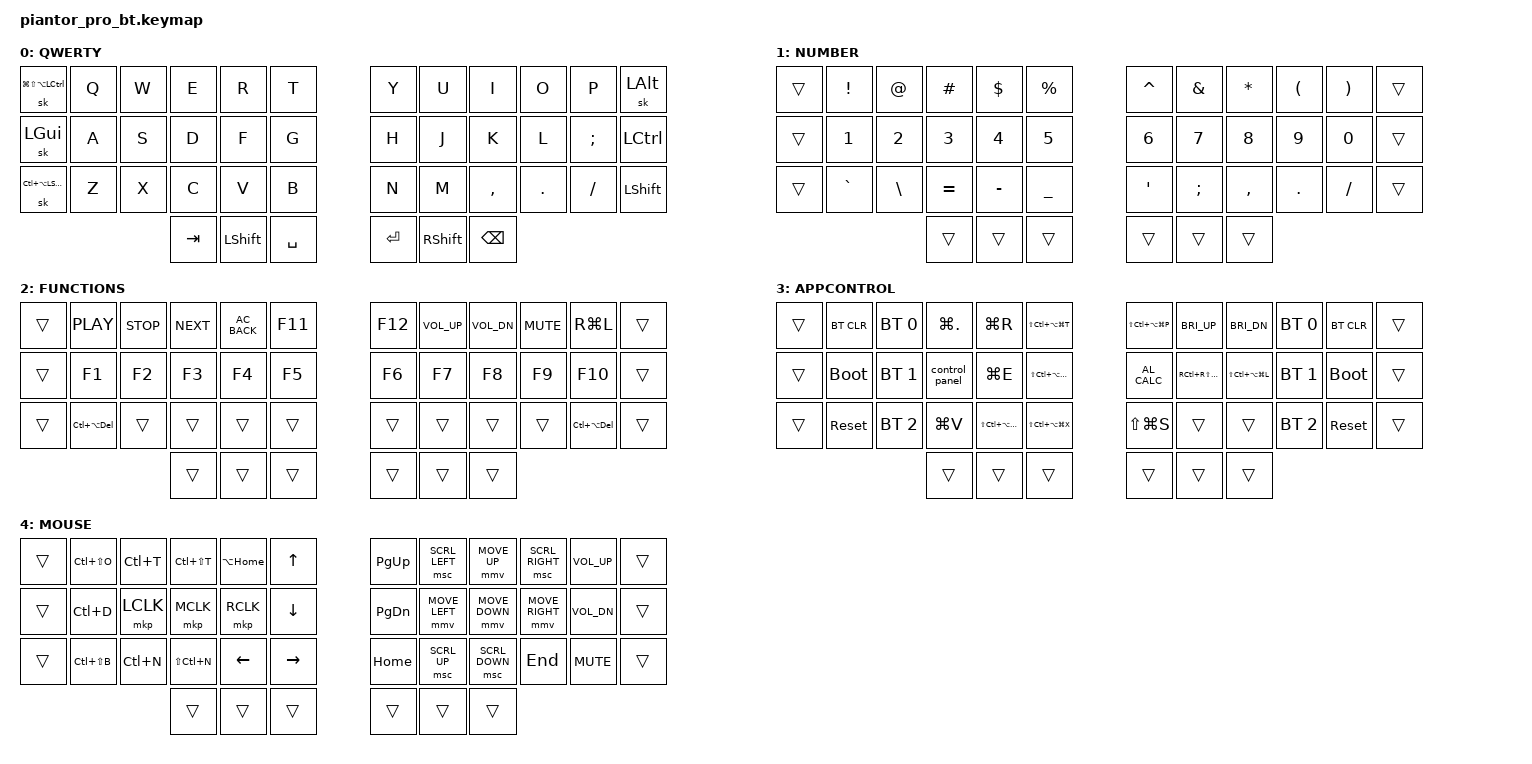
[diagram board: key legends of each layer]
/*
 * Copyright (c) 2020 The ZMK Contributors
 *
 * SPDX-License-Identifier: MIT
 */

#include <behaviors.dtsi>
#include <dt-bindings/zmk/keys.h>
#include <dt-bindings/zmk/bt.h>
#include <dt-bindings/zmk/rgb.h>
#include <dt-bindings/zmk/pointing.h>

&caps_word {
    continue-list = <BACKSPACE DELETE>;
};

/ {
    chosen {
        zmk,physical-layout = &default_layout;
    };
};

/ {
    macros {
        control_panel: control_panel { 
            compatible = "zmk,behavior-macro";
            #binding-cells = <0>;
            bindings
                = <&macro_press &kp RGUI>
                , <&macro_tap &kp R>
		, <&macro_wait_time 80>
                , <&macro_release &kp RGUI>
                , <&macro_tap &kp C &kp O &kp N &kp T &kp R &kp O &kp L &kp ENTER>
                ;
        };

        launch_chrome: launch_chrome { 
            compatible = "zmk,behavior-macro";
            #binding-cells = <0>;
            bindings
                = <&macro_press &kp RGUI>
                , <&macro_tap &kp R>
		, <&macro_wait_time 80>
                , <&macro_release &kp RGUI>
                , <&macro_tap &kp C &kp H &kp R &kp O &kp M &kp E &kp ENTER>
                ;
        };

        mycomputer: mycomputer { 
            compatible = "zmk,behavior-macro";
            #binding-cells = <0>;
            bindings
                = <&macro_press &kp RGUI>
                , <&macro_tap &kp R>
		, <&macro_wait_time 80>
                , <&macro_release &kp RGUI>
                , <&macro_tap &kp S &kp H &kp E &kp L &kp L &kp COLON &kp M &kp Y &kp C &kp O &kp M &kp P &kp U &kp T &kp E &kp R &kp F &kp O &kp L &kp D &kp E &kp R &kp ENTER>
                ;
        };
	
	launch_vscode: launch_vscode { 
            compatible = "zmk,behavior-macro";
            #binding-cells = <0>;
            bindings
                = <&macro_press &kp RGUI>
                , <&macro_tap &kp R>
		, <&macro_wait_time 80>
                , <&macro_release &kp RGUI>
                , <&macro_tap &kp C &kp O &kp D &kp E &kp ENTER>
                ;
        };

    	launch_edge: launch_edge { 
            compatible = "zmk,behavior-macro";
            #binding-cells = <0>;
            bindings
                = <&macro_press &kp RGUI>
                , <&macro_tap &kp R>
		, <&macro_wait_time 80>
                , <&macro_release &kp RGUI>
                , <&macro_tap &kp M &kp I &kp C &kp R &kp O &kp S &kp O &kp F &kp T &kp MINUS &kp E &kp D &kp G &kp E &kp COLON &kp ENTER>
                ;
        };
    	
	launch_notepadpp: launch_notepadpp { 
            compatible = "zmk,behavior-macro";
            #binding-cells = <0>;
            bindings
                = <&macro_press &kp RGUI>
                , <&macro_tap &kp R>
		, <&macro_wait_time 80>
                , <&macro_release &kp RGUI>
                , <&macro_tap &kp N &kp O &kp T &kp E &kp P &kp A &kp D &kp PLUS &kp PLUS &kp ENTER>
                ;
        };
    	
        // Layer with mod when held
	
	lm: lm {
	    compatible = "zmk,behavior-macro-two-param";
	    wait-ms = <0>;
	    tap-ms = <0>;
	    #binding-cells = <2>;
	    bindings
	        = <&macro_param_1to1>
	        , <&macro_press &mo MACRO_PLACEHOLDER>
	        , <&macro_param_2to1>
	        , <&macro_press &kp MACRO_PLACEHOLDER>
	        , <&macro_pause_for_release>
	        , <&macro_param_2to1>
	        , <&macro_release &kp MACRO_PLACEHOLDER>
	        , <&macro_param_1to1>
	        , <&macro_release &mo MACRO_PLACEHOLDER>
	        ;
	};
    };
};

/ {
    combos {
        compatible = "zmk,combos";

        // Characters
		
        combo_doublequ {
            timeout-ms = <50>;
            key-positions = <dk fk>;
            bindings = <&kp DQT>;
        };
	combo_singlequ {
            timeout-ms = <50>;
            key-positions = <jk kk>;
            bindings = <&kp SQT>;
        };
	combo_lpar {
            timeout-ms = <50>;
            key-positions = <ck vk>;
            bindings = <&kp LPAR>;
        };
	combo_rpar {
            timeout-ms = <50>;
            key-positions = <mk commak>;
            bindings = <&kp RPAR>;
        };
	combo_lbrace {
            timeout-ms = <50>;
            key-positions = <xk ck vk>;
            bindings = <&kp LBKT>;
        };
	combo_rbrace {
            timeout-ms = <50>;
            key-positions = <mk commak periodk>;
            bindings = <&kp RBKT>;
        };
	combo_lcurly {
            timeout-ms = <50>;
            key-positions = <xk vk>;
            bindings = <&kp LBRC>;
        };
	combo_rcurly {
            timeout-ms = <50>;
            key-positions = <mk periodk>;
            bindings = <&kp RBRC>;
        };

        // macro combos

         combo_chrome {
            timeout-ms = <50>;
	    require-prior-idle-ms = <300>;
            key-positions = <ck hk>;
            bindings = <&launch_chrome>;
        };

        combo_mycomputer {
            timeout-ms = <50>;
	    require-prior-idle-ms = <300>;
            key-positions = <ck yk>;
            bindings = <&mycomputer>;
        };

        combo_cpanel {
            timeout-ms = <50>;
	    require-prior-idle-ms = <300>;
            key-positions = <ck nk>;
            bindings = <&control_panel>;
        };

        combo_vscode {
            timeout-ms = <50>;
	    require-prior-idle-ms = <300>;
            key-positions = <ck uk>;
            bindings = <&launch_vscode>;
        };

        combo_edge {
            timeout-ms = <50>;
	    require-prior-idle-ms = <300>;
            key-positions = <ck jk>;
            bindings = <&launch_edge>;
        };
        
        combo_notepadpp {
            timeout-ms = <50>;
	    require-prior-idle-ms = <300>;
            key-positions = <ck mk>;
            bindings = <&launch_notepadpp>;
        };

        // Layer combos
        
        combo_alpha {
            timeout-ms = <50>;
            key-positions = <jk kk lk>;
            bindings = <&to LAYER_ALPHA>;
        };
        combo_numbsym {
            timeout-ms = <50>;
            key-positions = <hk jk kk>;
            bindings = <&tog LAYER_NUMBSYM>;
        };
        combo_numbsymosl {
            timeout-ms = <50>;
            key-positions = <hk kk>;
            bindings = <&sl LAYER_NUMBSYM>;
        };
        combo_func {
            timeout-ms = <50>;
            key-positions = <nk mk commak>;
            bindings = <&tog LAYER_FUNCTION>;
        };
        combo_funcosl {
            timeout-ms = <50>;
            key-positions = <nk commak>;
            bindings = <&sl LAYER_FUNCTION>;
        };
        combo_apps {
            timeout-ms = <50>;
            key-positions = <yk uk ik>;
            bindings = <&tog LAYER_APPCONTROL>;
        };
        combo_appsosl {
            timeout-ms = <50>;
            key-positions = <yk ik>;
            bindings = <&sl LAYER_APPCONTROL>;
        };

        combo_mouse {
            timeout-ms = <50>;
            key-positions = <wk ek rk tk>;
            bindings = <&tog LAYER_MOUSE>;
        };
        
	// activate number layer with shift when held.

	comnbo_layermod_left {
	    timeout-ms = <50>;
            key-positions = <hk jk>;
            bindings = <&lm LAYER_NUMBSYM RSHIFT>;
	};

	// Behavioral

        combo_esc {
            timeout-ms = <50>;
            key-positions = <fk gk>;
            bindings = <&kp ESC>;
        };
	
	combo_winclose {
            timeout-ms = <50>;
 	    require-prior-idle-ms = <250>;
            key-positions = <rk tk>;
            bindings = <&kp LC(F4)>;
        };
	
	combo_appclose {
            timeout-ms = <50>;
 	    require-prior-idle-ms = <250>;
            key-positions = <vk bk>;
            bindings = <&kp LA(F4)>;
        };
	combo_caplock {
            timeout-ms = <50>;
            key-positions = <zk xk ck>;
            bindings = <&kp CAPS>;
        };
	combo_capsword {
            timeout-ms = <50>;
            key-positions = <ck bk>;
            bindings = <&caps_word>;
        };
	combo_del {
            timeout-ms = <50>;
            key-positions = <dk gk>;
            bindings = <&kp DEL>;
        };
	combo_leftarr {
            timeout-ms = <100>;
            key-positions = <dk fk gk>;
            bindings = <&kp LEFT>;
        };
	combo_rightarr {
            timeout-ms = <100>;
            key-positions = <ek rk tk>;
            bindings = <&kp RIGHT>;
        };
	combo_uparr {
            timeout-ms = <100>;
            key-positions = <wk ek rk>;
            bindings = <&kp UP>;
        };
	combo_dnarr {
            timeout-ms = <100>;
            key-positions = <sk dk fk>;
            bindings = <&kp DOWN>;
        };
	combo_pgup {
            timeout-ms = <50>;
            key-positions = <fk jk>;
            bindings = <&kp PG_UP>;
        };
	combo_pgdn {
            timeout-ms = <50>;
            key-positions = <vk mk>;
            bindings = <&kp PG_DN>;
        };
	combo_home {
            timeout-ms = <50>;
            key-positions = <gk hk>;
            bindings = <&kp HOME>;
        };
	combo_end {
            timeout-ms = <50>;
            key-positions = <bk nk>;
            bindings = <&kp END>;
        };
    	combo_teamsmute {
            timeout-ms = <50>;
            key-positions = <rk uk>;
            bindings = <&kp LS(LC(M))>;
        };
    	combo_teamsvidtog {
            timeout-ms = <50>;
            key-positions = <tk yk>;
            bindings = <&kp LS(LC(O))>;
        };

	// Boot key combos

	combo_bootleft {
            timeout-ms = <50>;
            key-positions = <qk tk>;
            bindings = <&bootloader>;
        };

	combo_bootright {
            timeout-ms = <50>;
            key-positions = <yk pk>;
            bindings = <&bootloader>;
        };

	// Mouse combos

	combo_left_click {
            timeout-ms = <50>;
            key-positions = <sk fk>;
            bindings = <&mkp LCLK>;
        };
	combo_right_click {
            timeout-ms = <50>;
            key-positions = <wk rk>;
            bindings = <&mkp  RCLK>;
        };
	combo_middle_click {
            timeout-ms = <50>;
            key-positions = <ek tk>;
            bindings = <&mkp MCLK>;
        }; 
    };
};


/ {
    keymap {
        compatible = "zmk,keymap";

        alpha_layer  {
            display-name = "QWERTY";
            // --------------------------------------------------------------------------------
            // |  TAB |  Q  |  W  |  E  |  R  |  T  |  Y  |  U   |  I  |  O  |  P  | BSPC |
            // | CTRL |  A  |  S  |  D  |  F  |  G  |  H  |  J   |  K  |  L  |  ;  |  '   |
            // | SHFT |  Z  |  X  |  C  |  V  |  B  |  N  |  M   |  ,  |  .  |  /  | ESC  |
            //                    | GUI | LWR | SPC | ENT | RSE  | ALT |
            bindings = <
                &sk LG(LS(LA(LCTRL)))  &kp Q  &kp W   &kp E     &kp R       &kp T   &kp Y     &kp U    &kp I     &kp O   &kp P    &sk LALT
                &sk LGUI               &kp A  &kp S   &kp D     &kp F       &kp G   &kp H     &kp J    &kp K     &kp L   &kp SEMI &kp LCTRL
                &sk LC(LA(LSHIFT))     &kp Z  &kp X   &kp C     &kp V       &kp B   &kp N     &kp M    &kp COMMA &kp DOT &kp FSLH &kp LSHIFT
                                              &kp TAB &kp LSHFT &kp SPACE   &kp RET &kp RSHFT &kp BSPC
            >;
        };

        numbsym_layer  {
            display-name = "NUMBER";
            // -----------------------------------------------------------------------------------------
            // |  TAB |  1  |  2  |  3  |  4  |  5    |  6  |  7  |  8  |  9  |  0  | BSPC |
            // | CTRL | BT1 | BT2 | BT3 | BT4 | BT5   | LFT | DWN |  UP | RGT |     |      |
            // | SHFT | BTCR| RGB | RST | BOOT| Unlock|     |     |     |     |     |      |
            //                    | GUI |     | SPC   | ENT |     | ALT |
            bindings = <
                &trans  &kp EXCL   &kp AT     &kp HASH   &kp DLLR   &kp PRCNT     &kp CARET  &kp AMPS    &kp ASTRK  &kp LPAR   &kp RPAR  &trans
                &trans  &kp N1     &kp N2     &kp N3     &kp N4     &kp N5        &kp N6     &kp N7      &kp N8     &kp N9     &kp N0    &trans
                &trans  &kp GRAVE  &kp BSLH   &kp EQUAL  &kp MINUS  &kp UNDER     &kp SQT    &kp SEMI    &kp COMMA  &kp DOT    &kp SLASH &trans
                                              &trans     &trans     &trans        &trans     &trans      &trans
            >;
        };

        function_layer  {
            display-name = "FUNCTIONS";
            bindings = <
              &trans &kp C_PLAY      &kp C_STOP &kp C_NEXT &kp C_AC_BACK  &kp F11      &kp F12     &kp K_VOL_UP &kp C_VOL_DN  &kp C_MUTE  &kp RG(L)       &trans
              &trans &kp F1          &kp F2     &kp F3     &kp F4         &kp F5       &kp F6      &kp F7       &kp F8        &kp F9      &kp F10         &trans
              &trans &kp LC(LA(DEL)) &trans     &trans     &trans         &trans       &trans      &trans       &trans        &trans      &kp LC(LA(DEL)) &trans
                                                &trans     &trans         &trans       &trans      &trans       &trans       
            >;
        };

        appcontrol_layer  {
            display-name = "APPCONTROL";
            bindings = <
                &trans &bt BT_CLR  &bt BT_SEL 0 &kp LG(DOT)     &kp LG(R)              &kp LS(LC(LA(LG(T))))    &kp LS(LC(LA(LG(P)))) &kp C_BRI_UP    &kp C_BRI_DN          &bt BT_SEL 0 &bt BT_CLR  &trans 
                &trans &bootloader &bt BT_SEL 1 &control_panel  &kp LG(E)              &kp LS(LC(LA(LG(W))))    &kp C_AL_CALC         &kp RC(RS(ESC)) &kp LS(LC(LA(LG(L)))) &bt BT_SEL 1 &bootloader &trans 
                &trans &sys_reset  &bt BT_SEL 2 &kp LG(V)       &kp LS(LC(LA(LG(O))))  &kp LS(LC(LA(LG(X))))    &kp LS(LG(S))         &trans          &trans                &bt BT_SEL 2 &sys_reset  &trans 
                                   &trans       &trans          &trans                 &trans                   &trans                &trans       
            >;
        };

        mouse_layer  {
            display-name = "MOUSE";
            bindings = <
                &trans &kp LC(LS(O)) &kp LC(T)    &kp LC(LS(T))  &kp LA(HOME) &kp UP       &kp PG_UP    &msc SCRL_LEFT &mmv MOVE_UP    &msc SCRL_RIGHT  &kp K_VOL_UP &trans
                &trans &kp LC(D)     &mkp LCLK    &mkp MCLK      &mkp  RCLK   &kp DOWN     &kp PG_DN    &mmv MOVE_LEFT &mmv MOVE_DOWN  &mmv MOVE_RIGHT  &kp K_VOL_DN &trans
                &trans &kp LC(LS(B)) &kp LC(N)    &kp LS(LC(N))  &kp LEFT     &kp RIGHT    &kp HOME     &msc SCRL_UP   &msc SCRL_DOWN  &kp END          &kp K_MUTE   &trans
                                                  &trans         &trans       &trans       &trans       &trans         &trans       
            >;
        };

    };
};
